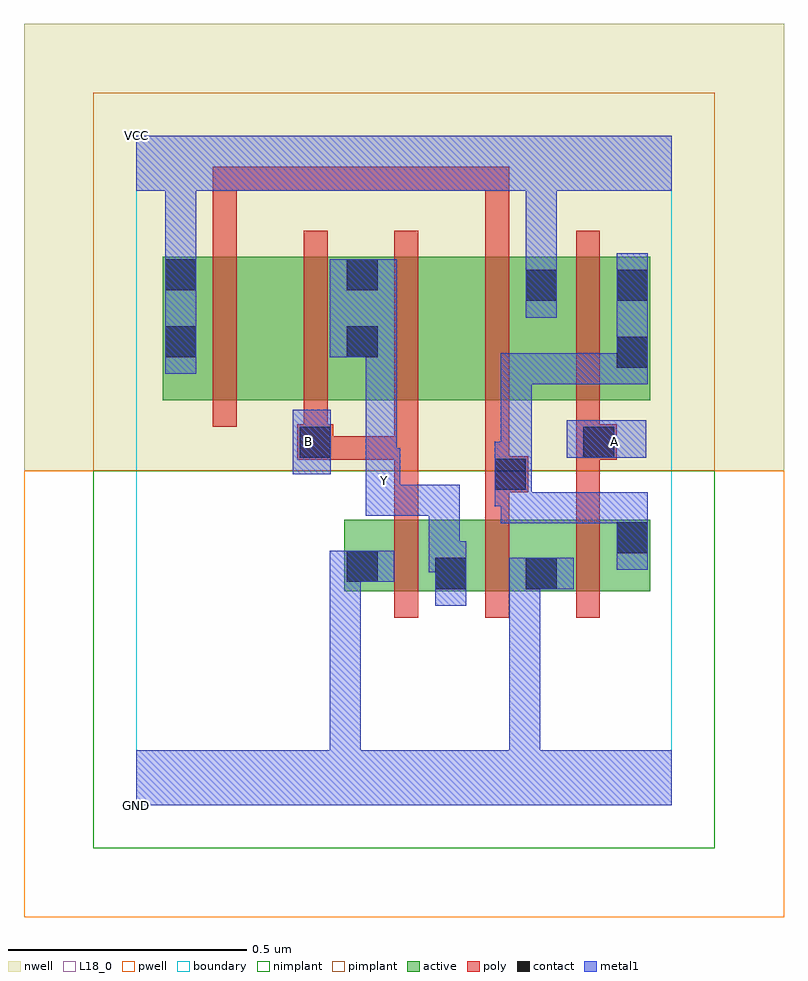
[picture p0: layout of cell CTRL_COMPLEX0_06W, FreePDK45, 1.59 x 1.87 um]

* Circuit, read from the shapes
.subckt CTRL_COMPLEX0_06W A B GND VCC Y
M1 Y B GND VSUBS nfet w=0.15u l=0.05u
M2 GND n1 Y VSUBS nfet w=0.15u l=0.05u
M3 n1 A GND VSUBS nfet w=0.15u l=0.05u
M4 n2 n1 VCC n3 pfet w=0.3u l=0.05u
M5 Y B n2 n3 pfet w=0.3u l=0.05u
M6 n4 B Y n3 pfet w=0.3u l=0.05u
M7 VCC n1 n4 n3 pfet w=0.3u l=0.05u
M8 n1 A VCC n3 pfet w=0.3u l=0.05u
.ends

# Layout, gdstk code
import gdstk
lib = gdstk.Library(unit=1e-6, precision=1e-09)
def R(c, l, rs):  # rectangles x0, y0, x1, y1
    for r in rs: c.add(gdstk.rectangle(r[:2], r[2:], *l))
def A(c, l, x, y, w, h, nx, ny, dx, dy):  # array of equal rectangles
    R(c, l, [(x+i*dx, y+j*dy, x+i*dx+w, y+j*dy+h) for i in range(nx) for j in range(ny)])
active = (1, 0)
pwell = (2, 0)
nwell = (3, 0)
nimplant = (4, 0)
pimplant = (5, 0)
poly = (9, 0)
contact = (10, 0)
metal1 = (11, 0)
L18_0 = (18, 0)
boundary = (235, 0)

ctrl_complex0_06w = lib.new_cell('CTRL_COMPLEX0_06W')
R(ctrl_complex0_06w, active, [(0.435,0.447,0.51,0.597), (0.435,0.447,0.695,0.597), (0.62,0.447,0.885,0.597), (0.62,0.447,0.695,0.522), (0.81,0.447,1.075,0.597), (0.81,0.447,0.885,0.522), (1,0.447,1.075,0.597), (0.055,0.847,0.28,1.147), (0.055,0.847,0.13,1.147), (0.28,0.847,0.51,1.147), (0.435,0.847,0.66,1.147), (0.435,0.847,0.51,1.147), (0.66,0.847,0.885,1.147), (0.81,0.847,0.885,1.125), (0.81,0.847,1.075,1.147), (1,0.847,1.075,1.125)])
R(ctrl_complex0_06w, pwell, [(-0.235,-0.235,1.355,0.7)])
R(ctrl_complex0_06w, nwell, [(-0.235,0.7,1.355,1.635)])
R(ctrl_complex0_06w, nimplant, [(-0.09,-0.09,1.21,0.7)])
R(ctrl_complex0_06w, pimplant, [(-0.09,0.7,1.21,1.49)])
A(ctrl_complex0_06w, poly, 0.54, 0.392, 0.05, 0.26, 3, 1, 0.19, 0)
A(ctrl_complex0_06w, poly, 0.16, 0.792, 0.05, 0.41, 5, 1, 0.19, 0)
R(ctrl_complex0_06w, poly, [(0.54,0.602,0.59,0.772), (0.73,0.602,0.78,0.705), (0.92,0.602,0.97,0.772), (0.73,0.655,0.82,0.73), (0.73,0.68,0.78,0.842), (0.337,0.722,0.412,0.797), (0.362,0.722,0.59,0.772), (0.54,0.722,0.59,0.772), (0.54,0.722,0.59,0.772), (0.54,0.722,0.59,0.772), (0.54,0.722,0.59,0.842), (0.92,0.722,1.005,0.797), (0.35,0.747,0.4,0.842), (0.92,0.747,0.97,0.842), (0.16,1.152,0.21,1.335), (0.73,1.152,0.78,1.335), (0.16,1.285,0.21,1.335), (0.16,1.285,0.412,1.335), (0.362,1.285,0.412,1.335), (0.362,1.285,0.412,1.335), (0.362,1.285,0.412,1.335), (0.362,1.285,0.545,1.335), (0.495,1.285,0.545,1.335), (0.495,1.285,0.545,1.335), (0.495,1.285,0.545,1.335), (0.495,1.285,0.78,1.335), (0.73,1.285,0.78,1.335), (0.73,1.285,0.78,1.335), (0.73,1.285,0.78,1.335)])
R(ctrl_complex0_06w, contact, [(0.625,0.452,0.69,0.517), (0.815,0.452,0.88,0.517), (0.44,0.467,0.505,0.532), (1.005,0.527,1.07,0.592), (0.75,0.66,0.815,0.725), (0.342,0.727,0.407,0.792), (0.935,0.727,1,0.792), (1.005,0.915,1.07,0.98), (0.06,0.937,0.125,1.002), (0.44,0.937,0.505,1.002), (0.815,1.055,0.88,1.12), (1.005,1.055,1.07,1.12), (0.06,1.077,0.125,1.142), (0.44,1.077,0.505,1.142)])
R(ctrl_complex0_06w, metal1, [(0,0,1.12,0.115), (0.405,0.05,0.47,0.115), (0.405,0.05,0.47,0.115), (0.405,0.05,0.47,0.115), (0.405,0.05,0.47,0.115), (0.405,0.05,0.47,0.115), (0.405,0.05,0.47,0.115), (0.405,0.05,0.47,0.532), (0.78,0.05,0.845,0.115), (0.78,0.05,0.845,0.115), (0.78,0.05,0.845,0.115), (0.78,0.05,0.845,0.115), (0.78,0.05,0.845,0.115), (0.78,0.05,0.845,0.115), (0.78,0.05,0.845,0.517), (0.625,0.417,0.69,0.552), (0.78,0.452,0.915,0.517), (0.405,0.467,0.54,0.532), (0.612,0.487,0.69,0.552), (0.612,0.487,0.677,0.67), (1.005,0.492,1.07,0.627), (1.005,0.562,1.07,0.627), (1.005,0.562,1.07,0.655), (0.762,0.59,0.827,0.655), (0.762,0.59,1.07,0.655), (0.762,0.59,0.827,0.69), (0.48,0.605,0.552,0.747), (0.487,0.605,0.552,0.67), (0.487,0.605,0.552,0.67), (0.487,0.605,0.677,0.67), (0.75,0.625,0.815,0.76), (0.75,0.625,0.827,0.69), (0.762,0.625,0.827,0.69), (0.762,0.625,0.827,0.945), (0.48,0.682,0.545,1.002), (0.327,0.692,0.407,0.827), (0.9,0.727,1.067,0.805), (0.762,0.88,0.827,0.945), (0.762,0.88,1.07,0.945), (1.005,0.88,1.07,0.945), (1.005,0.88,1.07,0.945), (1.005,0.88,1.07,1.155), (0.06,0.902,0.125,1.177), (0.405,0.937,0.545,1.142), (0.815,1.02,0.88,1.155), (0.815,1.09,0.88,1.242), (0.06,1.112,0.125,1.35), (0.815,1.177,0.88,1.242), (0.815,1.177,0.88,1.35), (0,1.285,1.12,1.4), (0.06,1.285,0.125,1.35), (0.06,1.285,0.125,1.35)])
R(ctrl_complex0_06w, L18_0, [(0,0,1.12,0.115), (0.405,0.05,0.47,0.115), (0.405,0.05,0.47,0.115), (0.405,0.05,0.47,0.115), (0.405,0.05,0.47,0.115), (0.405,0.05,0.47,0.115), (0.405,0.05,0.47,0.115), (0.405,0.05,0.47,0.532), (0.78,0.05,0.845,0.115), (0.78,0.05,0.845,0.115), (0.78,0.05,0.845,0.115), (0.78,0.05,0.845,0.115), (0.78,0.05,0.845,0.115), (0.78,0.05,0.845,0.115), (0.78,0.05,0.845,0.517), (0.625,0.417,0.69,0.552), (0.78,0.452,0.915,0.517), (0.405,0.467,0.54,0.532), (0.612,0.487,0.677,0.67), (0.612,0.487,0.69,0.552), (0.48,0.605,0.552,0.747), (0.487,0.605,0.552,0.67), (0.487,0.605,0.552,0.67), (0.487,0.605,0.677,0.67), (0.487,0.647,0.552,0.712), (0.48,0.682,0.545,1.002), (0.327,0.692,0.407,0.827), (0.327,0.727,0.392,0.792), (0.9,0.727,1.067,0.805), (0.967,0.727,1.032,0.792), (0.06,0.902,0.125,1.177), (0.405,0.937,0.545,1.142), (0.815,1.02,0.88,1.155), (0.815,1.09,0.88,1.242), (0.06,1.112,0.125,1.35), (0.815,1.177,0.88,1.242), (0.815,1.177,0.88,1.35), (0,1.285,1.12,1.4), (0.06,1.285,0.125,1.35), (0.06,1.285,0.125,1.35)])
R(ctrl_complex0_06w, boundary, [(0,0,1.12,1.4)])
ctrl_complex0_06w.add(gdstk.Label('A', (1,0.76), layer=11, texttype=0))
ctrl_complex0_06w.add(gdstk.Label('B', (0.36,0.76), layer=11, texttype=0))
ctrl_complex0_06w.add(gdstk.Label('Y', (0.52,0.68), layer=11, texttype=0))
ctrl_complex0_06w.add(gdstk.Label('VCC', (0,1.4), layer=11, texttype=0))
ctrl_complex0_06w.add(gdstk.Label('GND', (0,0), layer=11, texttype=0))

lib.write_gds('CTRL_COMPLEX0_06W.gds')
